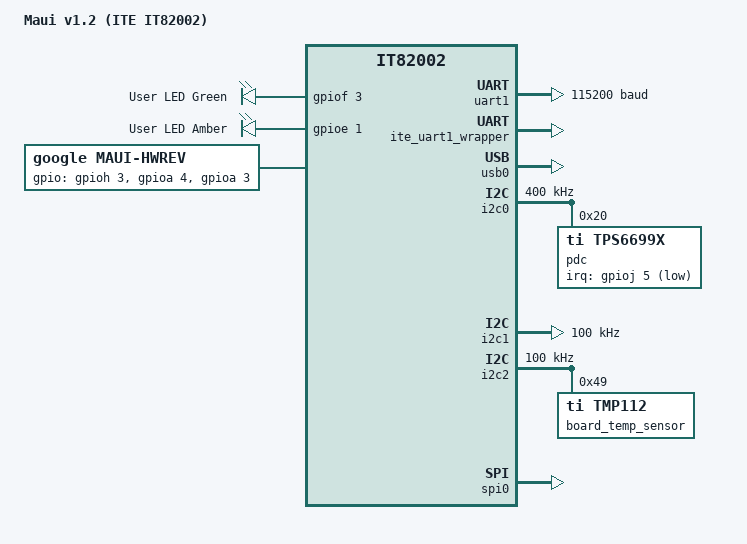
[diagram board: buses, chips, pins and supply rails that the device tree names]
/* Copyright 2026 The ChromiumOS Authors
 * Use of this source code is governed by a BSD-style license that can be
 * found in the LICENSE file.
 */

/dts-v1/;

#include <ite/it82xx2.dtsi>
#include <ite/it8xxx2-pinctrl-map.dtsi>

#include <zephyr/dt-bindings/gpio/gpio.h>
#include <zephyr/dt-bindings/i2c/i2c.h>
#include <zephyr/dt-bindings/input/input-event-codes.h>

#include "adc.dtsi"
#include "../common/gpio_ext.h"

/ {
	model = "Maui v1.2 (ITE IT82002)";
	compatible = "google,maui-v1p2-it82002", "ite,it82002";

	aliases {
		zephyr-udc0 = &usb0;
		/* pdc-debug-uart = &uart2; see the UART2 block near the end */
		temp-sensor = &board_temp_sensor;
	};

	chosen {
		zephyr,console = &cdc_acm_uart0;
		zephyr,shell-uart = &cdc_acm_uart0;
		zephyr,sram = &sram0;
		zephyr,flash = &flash0;
		/*
		 * MCUboot's flash_map_extended.c derives FLASH_DEVICE_ID and
		 * FLASH_DEVICE_BASE from this chosen node. Without it the
		 * bootloaders fail to build ("FLASH_DEVICE_ID could not be
		 * determined") on MCUboot revisions that have no
		 * zephyr,flash-only fallback.
		 */
		zephyr,flash-controller = &flashctrl;
	};

	leds: leds {
		compatible = "gpio-leds";

		ec_led_green: ec_led_green {
			/* Pin B10: PS2DAT1/RTS0#/GPF3 -> EC_LED_GREEN */
			gpios = <&gpiof 3 GPIO_ACTIVE_HIGH>;
			label = "User LED Green";
		};

		ec_led_amber: ec_led_amber {
			/* Pin A13: SMCLK5/GPE1 -> EC_LED_AMBER */
			gpios = <&gpioe 1 GPIO_ACTIVE_HIGH>;
			label = "User LED Amber";
		};
	};

	hwrev {
		compatible = "google,maui-hwrev";
		/*
		 * hwrev_init() shifts left as it walks this list, so the FIRST
		 * entry becomes the MSB and the LAST becomes the LSB:
		 *   A9 GPH3 EC_HWREV_ID3 -> bit 2
		 *   K6 GPA4 EC_HWREV_ID2 -> bit 1
		 *   N6 GPA3 EC_HWREV_ID1 -> bit 0
		 */
		gpios = <&gpioh 3 GPIO_ACTIVE_HIGH>,
			<&gpioa 4 GPIO_ACTIVE_HIGH>,
			<&gpioa 3 GPIO_ACTIVE_HIGH>;
	};

	dut_sbu_mux: dut-sbu-mux {
		compatible = "google,maui-sbu-mux";
		status = "okay";

		pdc = <&pdc>;
	};

	gpios {
		compatible = "google,maui-gpios";

		/* ==================== Digital Outputs ==================== */

		h2h_reset: h2h_reset_l {
			/* Pin M6: PWM2/GPA2 -> H2H_RESET_L (Prolific PL27A1 Reset) */
			gpios = <&gpioa 2 (GPIO_OUTPUT_INACTIVE | GPIO_ACTIVE_LOW)>;
		};

		hub_reset: hub_reset_l {
			/* Pin C13: DAC1/TACH1B/GPJ3 -> HUB_RESET_L */
			gpios = <&gpioj 3 (GPIO_OUTPUT_INACTIVE | GPIO_ACTIVE_LOW)>;
		};

		pp5000_cutoff: pp5000_cutoff {
			/* Pin B4: PWRSW/GPE4 -> PP5000_CUTOFF */
			gpios = <&gpioe 4 (GPIO_OUTPUT_INACTIVE | GPIO_ACTIVE_HIGH)>;
		};

		/* Prolific PL27A1 H2H SPI Flash Mux & Protection Control */
		ec_mem_sel: ec_mem_sel {
			/* Pin C2: GPC4 -> EC_MEM_SEL (0 = PL27A1, 1 = EC SPI) */
			gpios = <&gpioc 4 (GPIO_OUTPUT_INACTIVE | GPIO_ACTIVE_HIGH)>;
		};

		ec_mem_oe_l: ec_mem_oe_l {
			/*
			 * Pin K2: ESCK/LPCCLK/GPM4 -> EC_MEM_OE_L (Active Low
			 * Output Enable). Boots ASSERTED so the mux buffer is
			 * enabled: ec_mem_sel boots 0 (PL27A1 owns the flash),
			 * and with OE disabled the PL27A1 could not reach its
			 * own SPI NOR.
			 */
			gpios = <&gpiom 4 (GPIO_OUTPUT_ACTIVE | GPIO_ACTIVE_LOW)>;
		};

		spi_ec_wp_mem_r_l: spi_ec_wp_mem_r_l {
			/* Pin B9: PS2DAT2/GPF5 -> SPI_EC_WP_MEM_R_L */
			gpios = <&gpiof 5 (GPIO_OUTPUT_INACTIVE | GPIO_ACTIVE_LOW)>;
		};

		spi_ec_hold_mem_r_l: spi_ec_hold_mem_r_l {
			/* Pin D9: PS2CLK2/GPF4 -> SPI_EC_HOLD_MEM_R_L */
			gpios = <&gpiof 4 (GPIO_OUTPUT_INACTIVE | GPIO_ACTIVE_LOW)>;
		};

		/* USB2 / USB3 Mux Controls (Host, Hub, DUT) */
		usb3_mux_hub_oe_l: usb3_mux_hub_oe_l {
			/* Pin J2: EIO1/LAD1/GPM1 -> USB3_MUX_HUB_OE_L */
			gpios = <&gpiom 1 (GPIO_OUTPUT_ACTIVE | GPIO_ACTIVE_LOW)>;
		};

		usb3_mux_hub_sel: usb3_mux_hub_sel {
			/* Pin K1: EIO0/LAD0/GPM0 -> USB3_MUX_HUB_SEL */
			gpios = <&gpiom 0 (GPIO_OUTPUT_INACTIVE | GPIO_ACTIVE_HIGH)>;
		};

		usb2_mux_hub_oe_l: usb2_mux_hub_oe_l {
			/* Pin H2: EIO3/LAD3/GPM3 -> USB2_MUX_HUB_OE_L */
			gpios = <&gpiom 3 (GPIO_OUTPUT_ACTIVE | GPIO_ACTIVE_LOW)>;
		};

		usb2_mux_hub_sel: usb2_mux_hub_sel {
			/* Pin J1: EIO2/LAD2/GPM2 -> USB2_MUX_HUB_SEL */
			gpios = <&gpiom 2 (GPIO_OUTPUT_INACTIVE | GPIO_ACTIVE_HIGH)>;
		};

		usb3_mux_dut_oe: usb3_mux_dut_oe_r_l {
			/* Pin N7: GINT/CTS0#/GPD5 -> USB3_MUX_DUT_OE_L */
			gpios = <&gpiod 5 (GPIO_OUTPUT_ACTIVE | GPIO_ACTIVE_LOW)>;
		};

		usb3_mux_dut_sel: usb3_mux_dut_sel_r {
			/* Pin M11: TACH0A/GPD6 -> USB3_MUX_DUT_SEL */
			gpios = <&gpiod 6 (GPIO_OUTPUT_INACTIVE | GPIO_ACTIVE_HIGH)>;
		};

		usb2_mux_dut_oe: usb2_mux_dut_oe_r_l {
			/* Pin M12: TACH1A/GPD7 -> USB2_MUX_DUT_OE_L */
			gpios = <&gpiod 7 (GPIO_OUTPUT_ACTIVE | GPIO_ACTIVE_LOW)>;
		};

		usb2_mux_dut_sel: usb2_mux_dut_sel_r {
			/* Pin G1: GPJ7 -> USB2_MUX_DUT_SEL */
			gpios = <&gpioj 7 (GPIO_OUTPUT_INACTIVE | GPIO_ACTIVE_HIGH)>;
		};

		usb3_mux_host_oe: usb3_mux_host_oe_r_l {
			/* Pin A12: SMDAT5/GPE2 -> USB3_MUX_HOST_OE_R_L
			 *
			 * Active-low output-enable for the USB3 host mux.
			 * Boots asserted so the mux drives from reset: with
			 * host_mux disabled on this board (CONFIG_MAUI_HOST_MUX)
			 * nothing else ever enables it, and a disabled buffer
			 * leaves the USB3 host path dead.
			 */
			gpios = <&gpioe 2 (GPIO_OUTPUT_ACTIVE | GPIO_ACTIVE_LOW)>;
		};

		usb3_mux_host_sel: usb3_mux_host_sel_r {
			/* Pin B12: GPE3 -> USB3_MUX_HOST_SEL_R */
			gpios = <&gpioe 3 (GPIO_OUTPUT_INACTIVE | GPIO_ACTIVE_HIGH)>;
		};

		/* ==================== Digital Inputs ==================== */

		i2c_temp_alert: i2c_temp_alert {
			/* Pin C1: SMDAT2ALT/GPF7 -> I2C_TEMP_ALERT */
			gpios = <&gpiof 7 (GPIO_INPUT | GPIO_PULL_UP | GPIO_ACTIVE_LOW)>;
		};

		/* H2H Prolific PL27A1 Access LED Indicators */
		h2h_host_access_led_l: h2h_host_access_led_l {
			/* Pin H4: KBRST#/GPB6 -> H2H_HOST_ACCESS_LED_L */
			gpios = <&gpiob 6 (GPIO_INPUT | GPIO_ACTIVE_LOW)>;
		};

		h2h_dut_host_access_led_l: h2h_dut_host_access_led_l {
			/* Pin K7: PWM7/RIG1#/GPA7 -> H2H_DUT_HOST_ACCESS_LED_L */
			gpios = <&gpioa 7 (GPIO_INPUT | GPIO_ACTIVE_LOW)>;
		};

		h2h_dut_access_led_l: h2h_dut_access_led_l {
			/* Pin L2: ECSMI#/GPD4 -> H2H_DUT_ACCESS_LED_L */
			gpios = <&gpiod 4 (GPIO_INPUT | GPIO_ACTIVE_LOW)>;
		};

		/* Power Good & Rail Status Monitors */
		pp1200_pg_od: pp1200_pg_od {
			/* Pin A10: PS2CLK1/DTR0#/GPF2 -> PP1200_PG_OD */
			gpios = <&gpiof 2 (GPIO_INPUT | GPIO_PULL_UP | GPIO_ACTIVE_HIGH)>;
		};

		pp3300_pg_od: pp3300_pg_od {
			/* Pin B13: DCD0#/GPJ4 -> PP3300_PG_OD */
			gpios = <&gpioj 4 (GPIO_INPUT | GPIO_PULL_UP | GPIO_ACTIVE_HIGH)>;
		};

		pp1100_pg_od: pp1100_pg_od {
			/* Pin D8: CLKRUN#/GPH0 -> PP1100_PG_OD */
			gpios = <&gpioh 0 (GPIO_INPUT | GPIO_PULL_UP | GPIO_ACTIVE_HIGH)>;
		};

		pp3300_ec_status: pp3300_ec_status {
			/* Pin J6: PWM5/SMDAT5ALT/GPA5 -> PP3300_EC_STATUS */
			gpios = <&gpioa 5 (GPIO_INPUT | GPIO_ACTIVE_HIGH)>;
		};

		/* USB Hub Status & Suspend Monitors */
		hub_ss_up_status: hub_ss_up_status {
			/* Pin B8: GPH4 -> HUB_SS_UP_STATUS */
			gpios = <&gpioh 4 (GPIO_INPUT | GPIO_ACTIVE_HIGH)>;
		};

		hub_hs_up_status: hub_hs_up_status {
			/* Pin E12: TACH2/GPJ0 -> HUB_HS_UP_STATUS */
			gpios = <&gpioj 0 (GPIO_INPUT | GPIO_ACTIVE_HIGH)>;
		};

		hub_hs_suspend: hub_hs_suspend {
			/* Pin D13: GPJ1 -> HUB_HS_SUSPEND */
			gpios = <&gpioj 1 (GPIO_INPUT | GPIO_ACTIVE_HIGH)>;
		};

		hub_ss_suspend: hub_ss_suspend {
			/* Pin M5: PWM0/GPA0 -> HUB_SS_SUSPEND */
			gpios = <&gpioa 0 (GPIO_INPUT | GPIO_ACTIVE_HIGH)>;
		};

		/* TI TPS66994 PDC Interrupt & Status GPIOs */
		pdc_hi_priority_irq_l: pdc_hi_priority_irq_l {
			/*
			 * Pin N5: PWM1/GPA1 -> PDC_HI_PRIORITY_IRQ_L.
			 * Pulled up on the board, so no internal pull here.
			 */
			gpios = <&gpioa 1 (GPIO_INPUT | GPIO_ACTIVE_LOW)>;
		};

		pdc_gpio8: pdc_gpio8 {
			/* Pin G2: ALERT#/SERIRQ/GPM6 -> PDC_GPIO8 */
			gpios = <&gpiom 6 (GPIO_INPUT | GPIO_ACTIVE_HIGH)>;
		};

		pdc_gpio9: pdc_gpio9 {
			/* Pin N3: RI2#/GPD1 -> PDC_GPIO9 */
			gpios = <&gpiod 1 (GPIO_INPUT | GPIO_ACTIVE_HIGH)>;
		};

		pdc_gpio10: pdc_gpio10 {
			/* Pin M4: ERST#/LPCRST#/GPD2 -> PDC_GPIO10 */
			gpios = <&gpiod 2 (GPIO_INPUT | GPIO_ACTIVE_HIGH)>;
		};

		pdc_gpio11: pdc_gpio11 {
			/* Pin N4: ECSCI#/GPD3 -> PDC_GPIO11 */
			gpios = <&gpiod 3 (GPIO_INPUT | GPIO_ACTIVE_HIGH)>;
		};
	};
};

&flash0 {
	reg = <0x80000000 DT_SIZE_M(1)>;

	partitions {
		compatible = "fixed-partitions";
		#address-cells = <1>;
		#size-cells = <1>;

		/* 96 KB RO Bootloader (Sectors 0..23) */
		boot_partition: ro_boot_partition: partition@0 {
			label = "ro_bootloader";
			reg = <0x00000000 DT_SIZE_K(96)>;
			read-only;
		};

		/* 128 KB RW Bootloader (Sectors 24..55) */
		rw_boot_partition: partition@18000 {
			label = "rw_bootloader";
			reg = <0x00018000 DT_SIZE_K(128)>;
		};

		/* 768 KB Main Application (Sectors 56..247) */
		slot0_partition: partition@38000 {
			label = "image-0";
			reg = <0x00038000 DT_SIZE_K(768)>;
		};

		/* 32 KB NVS Key-Value Storage (Sectors 248..255) */
		storage_partition: partition@f8000 {
			label = "storage";
			reg = <0x000F8000 DT_SIZE_K(32)>;
		};
	};
};

&sram0 {
	reg = <0x80100000 DT_SIZE_K(256)>;
};

/* UART1: Debug UART on Pins A4 (SIN0/GPB0) & A3 (SOUT0/GPB1) */
&uart1 {
	status = "okay";
	current-speed = <115200>;
	clock-frequency = <1804800>;
};

&ite_uart1_wrapper {
	status = "okay";
	pinctrl-0 = <&uart1_rx_gpb0_default
		     &uart1_tx_gpb1_default>;
	pinctrl-names = "default";
};

/*
 * UART2: PDC Debug Trace UART RX on Pin A11 (SIN1/GPF0).
 *
 * DISABLED - the IT82002 cannot receive this stream. The TPS6699x emits its
 * debug trace at 12 MBaud (see maui_proto_3507.dts, which sets
 * current-speed = <12000000> on its PDC trace UART), but the IT8xxx2 UART
 * tops out at 460800:
 *   - the standard path divides a fixed 1.8432 MHz clock, so 115200 is the
 *     maximum, and
 *   - the high-speed ECSPMR path (CONFIG_UART_NS16550_ITE_HIGH_SPEED_BAUDRATE)
 *     only has hardcoded divisors for 230400 and 460800; any other rate
 *     leaves the divisor at 0 and misconfigures the port.
 * There is no clock-source select to raise the ceiling.
 *
 * Capture the PDC trace with a scope or logic analyser on pin A11 instead.
 * Re-enable this (together with the pdc-debug-uart alias, which
 * tps6699x.c needs under CONFIG_PDC_DEBUG) only if the PDC is ever
 * reconfigured to emit at <= 460800.
 *
 * &uart2 {
 *	status = "okay";
 *	current-speed = <115200>;
 * };
 *
 * &ite_uart2_wrapper {
 *	status = "okay";
 *	pinctrl-0 = <&uart2_rx_gpf0_default>;
 *	pinctrl-names = "default";
 * };
 */

/* USB 2.0 Device: Upstream CDC-ACM to Hub on Pins A8 (GPH5/DM) & B7 (GPH6/DP) */
zephyr_udc0: &usb0 {
	status = "okay";
	pinctrl-0 = <&usb0_dm_gph5_default &usb0_dp_gph6_default>;
	pinctrl-names = "default";

	cdc_acm_uart0: cdc_acm_uart0 {
		compatible = "zephyr,cdc-acm-uart";
	};
};

/* I2C0: TI TPS66994 PDC on Pins A5 (SMCLK0/GPB3) & A2 (SMDAT0/GPB4), IRQ Pin C12 (GPJ5) */
&i2c0 {
	status = "okay";
	clock-frequency = <I2C_BITRATE_FAST>;
	pinctrl-0 = <&i2c0_clk_gpb3_default
		     &i2c0_data_gpb4_default>;
	pinctrl-names = "default";

	pdc: tps6699x@20 {
		compatible = "ti,tps6699x";
		reg = <0x20>;
		status = "okay";
		irq-gpios = <&gpioj 5 (GPIO_PULL_UP | GPIO_ACTIVE_LOW)>;
	};
};

/* I2C1: USB Hub SMBus on Pins B3 (SMCLK1/GPC1) & B2 (SMDAT1/GPC2) */
&i2c1 {
	status = "okay";
	clock-frequency = <I2C_BITRATE_STANDARD>;
	pinctrl-0 = <&i2c1_clk_gpc1_default
		     &i2c1_data_gpc2_default>;
	pinctrl-names = "default";
};

/* I2C2: TI TMP110 Thermal Sensor on Pins M2 (SMCLK2/GPC7) & N1 (SMDAT2/GPD0).
 *
 * Deliberately uses the primary SMCLK2/SMDAT2 pins, not the *ALT* variants:
 * C1 (SMDAT2ALT/GPF7) is wired to I2C_TEMP_ALERT and used as a GPIO.
 *
 * i2c3/i2c4/i2c5 stay disabled on this board and must NOT be enabled:
 *   i2c4 SMCLK4/SMDAT4 = GPE0/GPE7 = JTAG_EC_SWCLK / JTAG_EC_SWDIO
 *   i2c5 SMCLK5/SMDAT5 = GPE1/GPE2 = EC_LED_AMBER / USB3_MUX_HOST_OE_R_L
 * Enabling either would mux those pins away from their board function.
 */
&i2c2 {
	status = "okay";
	clock-frequency = <I2C_BITRATE_STANDARD>;
	pinctrl-0 = <&i2c2_clk_gpc7_default
		     &i2c2_data_gpd0_default>;
	pinctrl-names = "default";

	/*
	 * The fitted part is a TMP110. TI documents it as register-compatible
	 * with the TMP112/TMP102 (same pointer register, same config layout,
	 * same 0.0625 C/LSB) and Zephyr has no tmp110 driver, so ti,tmp112 is
	 * the right binding.
	 *
	 * Do NOT add the 'extended-mode' property: it sets the config EM bit
	 * and switches the driver to 13-bit sample parsing, which the 12-bit
	 * TMP110 does not support and which would corrupt every reading.
	 */
	board_temp_sensor: tmp112@49 {
		compatible = "ti,tmp112";
		reg = <0x49>;
		status = "okay";
	};
};

/* SPI0 (SSPI0): Prolific PL27A1 H2H External SPI NOR Flash Programming Interface
 * Pins: M7 (SSCK/GPA6), K13 (SMOSI/GPC3), J10 (SMISO/GPC5), E7 (SSCE0#/GPG2)
 */
&spi0 {
	status = "okay";
	pinctrl-0 = <&spi_ssck_default
		     &spi_smosi_default
		     &spi_smiso_default
		     &spi_ssce0_default>;
	pinctrl-names = "default";
};
